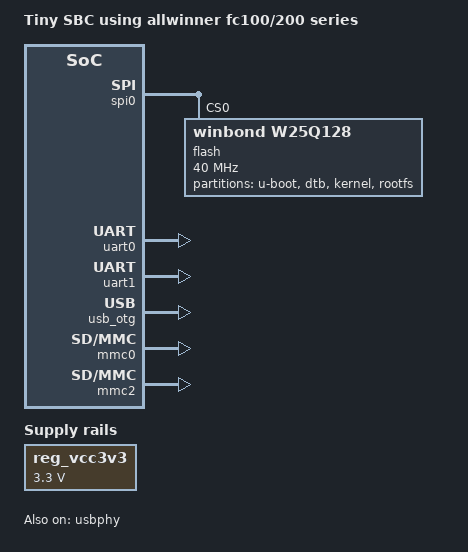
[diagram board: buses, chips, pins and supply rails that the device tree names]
// SPDX-License-Identifier: (GPL-2.0+ OR X11)
/*
 * Copyright 2019 George Hilliard <thirtythreeforty@gmail.com>
 */

/dts-v1/;
#include "suniv-f1c100s-uboot.dtsi"

#include <dt-bindings/gpio/gpio.h>
#include <dt-bindings/interrupt-controller/arm-gic.h>

/ {
	model = "Tiny SBC using allwinner fc100/200 series";
	compatible = "licheepi,licheepi-nano", "allwinner,suniv-f1c100s",
		     "allwinner,suniv";

	aliases {
		serial0 = &uart0;
		spi0 = &spi0;
	};

	chosen {
		stdout-path = "serial0:115200n8";
	};

	reg_vcc3v3: vcc3v3 {
		compatible = "regulator-fixed";
		regulator-name = "vcc3v3";
		regulator-min-microvolt = <3300000>;
		regulator-max-microvolt = <3300000>;
	};

};

&pio {
	led_pins: led_pins {
		pins = "PE6";
		function = "gpio_out";
	};
};

&spi0 {
    pinctrl-names = "default";
    pinctrl-0 = <&spi0_pins_a>;
    status = "okay";

	flash: w25q128@0 {
        #address-cells = <1>;
        #size-cells = <1>;
        compatible =  "winbond,w25q128", "jedec,spi-nor";
        reg = <0>;
        spi-max-frequency = <40000000>;
        partitions {
			compatible = "fixed-partitions";
			#address-cells = <1>;
			#size-cells = <1>;

			partition@0 {
				label = "u-boot";
				reg = <0x000000 0x100000>;
				read-only;
			};

			partition@100000 {
				label = "dtb";
				reg = <0x100000 0x10000>;
				read-only;
			};

			partition@110000 {
				label = "kernel";
				reg = <0x110000 0x4f0000>;
				read-only;
			};

			partition@600000 {
				label = "rootfs";
				reg = <0x600000 0xA00000>;
			};
		};
    };
};


&uart0 {
	pinctrl-names = "default";
	pinctrl-0 = <&uart0_pins_a>;
	status = "okay";
};

&uart1 {
	pinctrl-names = "default";
	pinctrl-0 = <&uart1_pins_a>;
	status = "okay";
};

&usb_otg {
	status = "okay";
};

&usbphy {
	status = "okay";
};

&mmc0 {
	status = "okay";
};

&mmc2 {
	status = "okay";
};
